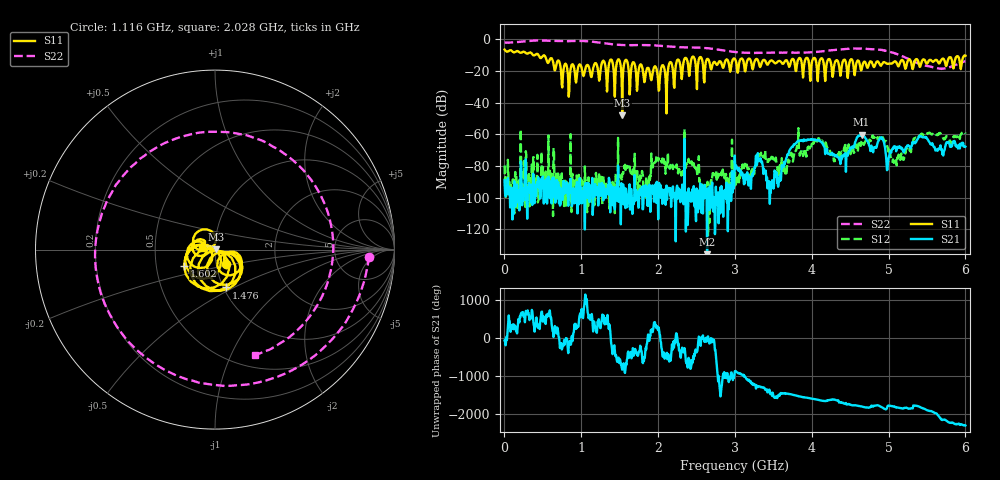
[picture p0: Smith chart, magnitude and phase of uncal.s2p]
# GHZ S RI R 50
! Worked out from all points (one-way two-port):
!   1000 points, 6 MHz to 6 GHz, reference 50 ohm
!   highest |S21| = -60.27 dB at 4.65 GHz (marker M1); lowest = -136.8 dB at 2.64 GHz (marker M2)
!   lowest |S11| = -47.9 dB at 1.536 GHz (marker M3), VSWR 1.01, Z = 50.4 + j0.175 ohm
!   |S11| at or under -10 dB: 377.1 MHz to 398 MHz (20.93 MHz wide, 5.4 % of centre); 447.7 MHz to end of sweep
!   |S22| runs from -18.7 to -0.7 dB; largest |S21 - S12| = 0.0016
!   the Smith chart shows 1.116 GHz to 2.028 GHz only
!   S11 on the Smith chart (normalised r, x): 1.116 GHz: 1.11, -0.18; 1.476 GHz: 1.03, -0.46; 1.602 GHz: 0.69, -0.13; 2.028 GHz: 0.87, +0.01
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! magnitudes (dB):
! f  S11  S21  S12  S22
! 6 MHz  -6.5  -89.1  -79.7  -2.1
! 1.008 GHz  -18.1  -95.5  -88.9  -1.1
! 1.116 GHz  -20.1  -99.5  -99.0  -1.3
! 1.476 GHz  -13.2  -98.1  -94.9  -3.4
! 1.536 GHz  -47.9  -95.3  -85.4  -3.6
! 1.602 GHz  -14.2  -106.0  -81.1  -3.7
! 2.004 GHz  -27.2  -113.7  -76.7  -3.9
! 2.028 GHz  -23.0  -98.6  -74.4  -4.1
! 2.64 GHz  -12.4  -136.8  -91.8  -5.6
! 3.006 GHz  -12.7  -81.6  -92.2  -8.0
! 3.342 GHz  -16.1  -76.8  -71.7  -8.5
! 3.606 GHz  -14.5  -84.2  -78.6  -8.4
! 3.798 GHz  -20.1  -65.5  -70.2  -8.4
! 4.002 GHz  -14.9  -63.3  -66.1  -8.2
! 4.368 GHz  -21.4  -76.0  -73.8  -6.4
! 4.65 GHz  -19.0  -60.3  -64.5  -5.8
! 4.788 GHz  -15.2  -70.3  -61.3  -6.3
! 4.914 GHz  -15.8  -62.8  -62.8  -6.8
! 5.004 GHz  -15.4  -74.5  -69.4  -7.7
! 5.082 GHz  -13.9  -68.7  -76.9  -8.8
! 5.418 GHz  -16.4  -61.1  -60.3  -15.8
! 6 GHz  -10.3  -67.8  -59.6  -13.8
